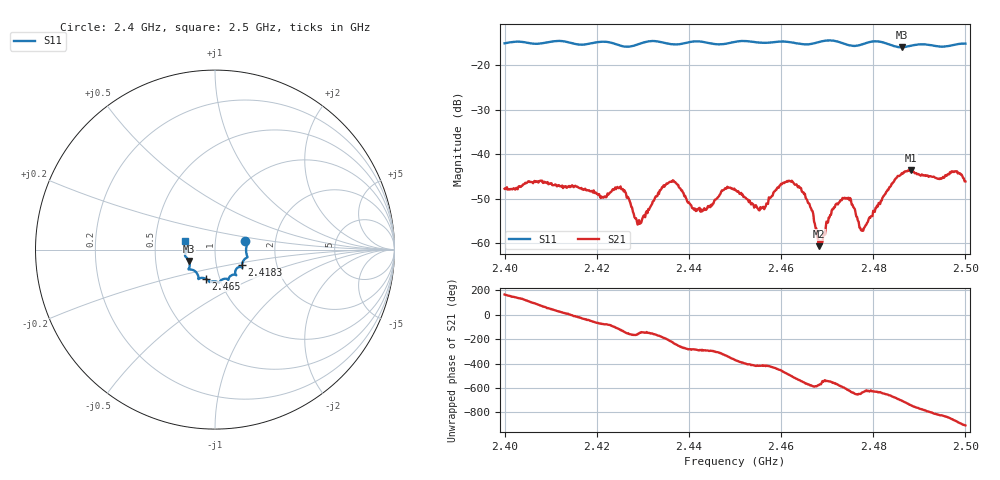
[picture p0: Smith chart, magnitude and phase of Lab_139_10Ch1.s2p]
# Hz S RI R 50
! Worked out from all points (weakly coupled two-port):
!   601 points, 2.4 GHz to 2.5 GHz, reference 50 ohm
!   highest |S21| = -43.52 dB at 2.4882 GHz (marker M1); lowest = -60.6 dB at 2.4682 GHz (marker M2)
!   lowest |S11| = -16.0 dB at 2.4862 GHz (marker M3), VSWR 1.37, Z = 37.1 - j4.82 ohm
!   |S11| at or under -10 dB: start of sweep to end of sweep
!   S12 and S22 are empty: the file has one direction only
!   S11 on the Smith chart (normalised r, x): 2.4 GHz: 1.40, +0.13; 2.4183 GHz: 1.33, -0.24; 2.465 GHz: 0.86, -0.29; 2.5 GHz: 0.71, +0.07
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2.4e9  0.1689 0.046  -0.00395 0.00106  0 0  0 0
2.416667e9  0.1547 -0.0681  0.00367 -0.00201  0 0  0 0
2.418333e9  0.1499 -0.0866  0.00281 -0.00276  0 0  0 0
2.4255e9  0.1297 -0.0984  -0.00268 -0.00305  0 0  0 0
2.429167e9  0.1123 -0.1304  -0.00163 -0.000802  0 0  0 0
2.433333e9  0.1168 -0.1412  -0.00366 -0.000513  0 0  0 0
2.436667e9  0.0931 -0.1427  -0.00303 0.00401  0 0  0 0
2.441e9  0.0748 -0.1676  0.00055 0.00241  0 0  0 0
2.443e9  0.0717 -0.167  0.000959 0.00217  0 0  0 0
2.45e9  0.0251 -0.1805  0.00389 -0.000703  0 0  0 0
2.455333e9  0.00484 -0.1781  0.00127 -0.00197  0 0  0 0
2.461333e9  -0.0313 -0.1793  -0.00283 -0.00414  0 0  0 0
2.465e9  -0.0528 -0.1621  -0.00344 0.000929  0 0  0 0
2.466667e9  -0.0713 -0.1575  -0.00175 0.00155  0 0  0 0
2.468167e9  -0.0848 -0.1598  -0.000738 0.000563  0 0  0 0
2.473333e9  -0.0929 -0.1492  -0.00195 0.00257  0 0  0 0
2.475e9  -0.1017 -0.1304  -0.000242 0.00321  0 0  0 0
2.477667e9  -0.1295 -0.1119  0.000146 0.00141  0 0  0 0
2.483333e9  -0.1419 -0.0958  0.00192 0.00353  0 0  0 0
2.486167e9  -0.1446 -0.0633  0.00582 0.00179  0 0  0 0
2.488167e9  -0.1579 -0.0453  0.00621 -0.00243  0 0  0 0
2.5e9  -0.1669 0.0474  -0.0049 0.00059  0 0  0 0
